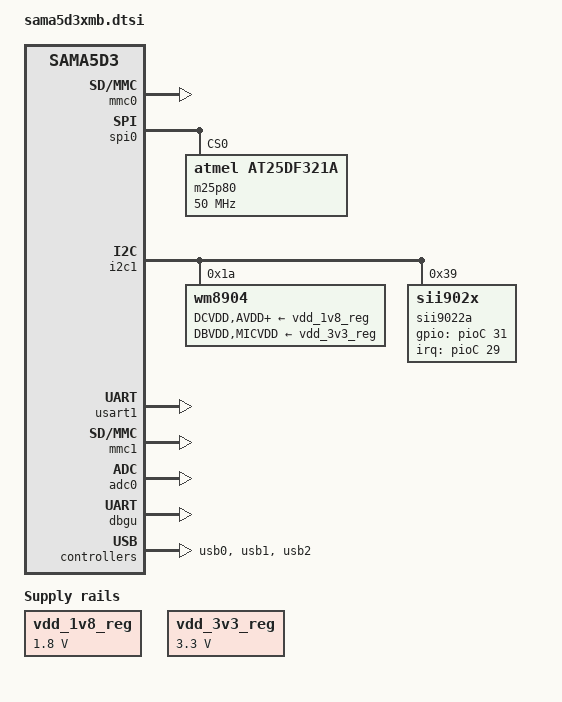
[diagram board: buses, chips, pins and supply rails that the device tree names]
/*
 * sama5d3xmb.dts - Device Tree file for SAMA5D3x mother board
 *
 *  Copyright (C) 2013 Atmel,
 *                2013 Ludovic Desroches <ludovic.desroches@atmel.com>
 *
 * Licensed under GPLv2 or later.
 */
#include "sama5d3xcm.dtsi"

/ {
	compatible = "atmel,sama5d3xmb", "atmel,sama5d3xcm", "atmel,sama5d3", "atmel,sama5";

	ahb {
		apb {
			mmc0: mmc@f0000000 {
				pinctrl-names = "default";
				pinctrl-0 = <&pinctrl_mmc0_clk_cmd_dat0 &pinctrl_mmc0_dat1_3 &pinctrl_mmc0_cd>;
				status = "okay";
				slot@0 {
					reg = <0>;
					bus-width = <4>;
					cd-gpios = <&pioD 17 GPIO_ACTIVE_HIGH>;
				};
			};

			spi0: spi@f0004000 {
				m25p80@0 {
					compatible = "atmel,at25df321a";
					spi-max-frequency = <50000000>;
					reg = <0>;
				};
			};

			ssc0: ssc@f0008000 {
				atmel,clk-from-rk-pin;
			};

			i2c1: i2c@f0018000 {
				wm8904: wm8904@1a {
					compatible = "wm8904";
					reg = <0x1a>;

					DCVDD-supply = <&vdd_1v8_reg>;
					DBVDD-supply = <&vdd_3v3_reg>;
					AVDD-supply = <&vdd_1v8_reg>;
					CPVDD-supply = <&vdd_1v8_reg>;
					MICVDD-supply = <&vdd_3v3_reg>;
				};

				sii9022a:sii9022a@39 {
					compatible = "sii902x";
					reg = <0x39>;
					interrupt-parent = <&pioC>;
					interrupts = <29 0x0>;
					pinctrl-names = "default";
					pinctrl-0 = <&pinctrl_sii9022a_irq>, <&pinctrl_sii9022a_reset>;
					gpios = <&pioC 31 0>;
				};
			};

			usart1: serial@f0020000 {
				pinctrl-names = "default";
				pinctrl-0 = <&pinctrl_usart1 &pinctrl_usart1_rts_cts>;
				status = "okay";
			};

			isi: isi@f0034000 {
				pinctrl-names = "default";
				pinctrl-0 = <&pinctrl_isi_data_0_7 &pinctrl_isi_pck_as_mck &pinctrl_isi_power &pinctrl_isi_reset>;
			};

			mmc1: mmc@f8000000 {
				pinctrl-names = "default";
				pinctrl-0 = <&pinctrl_mmc1_clk_cmd_dat0 &pinctrl_mmc1_dat1_3 &pinctrl_mmc1_cd>;
				status = "okay";
				slot@0 {
					reg = <0>;
					bus-width = <4>;
					cd-gpios = <&pioD 18 GPIO_ACTIVE_HIGH>;
				};
			};

			adc0: adc@f8018000 {
				pinctrl-names = "default";
				pinctrl-0 = <
					&pinctrl_adc0_adtrg
					&pinctrl_adc0_ad0
					&pinctrl_adc0_ad1
					&pinctrl_adc0_ad2
					&pinctrl_adc0_ad3
					&pinctrl_adc0_ad4
					>;
				status = "okay";
			};

			macb1: ethernet@f802c000 {
				phy-mode = "rmii";
			};

			pinctrl@fffff200 {
				board {
					pinctrl_mmc0_cd: mmc0_cd {
						atmel,pins =
							<AT91_PIOD 17 AT91_PERIPH_GPIO AT91_PINCTRL_PULL_UP_DEGLITCH>; /* PD17 GPIO with pullup deglitch */
					};

					pinctrl_mmc1_cd: mmc1_cd {
						atmel,pins =
							<AT91_PIOD 18 AT91_PERIPH_GPIO AT91_PINCTRL_PULL_UP_DEGLITCH>; /* PD18 GPIO with pullup deglitch */
					};

					pinctrl_pck0_as_audio_mck: pck0_as_audio_mck {
						atmel,pins =
							<AT91_PIOD 30 AT91_PERIPH_B AT91_PINCTRL_NONE>;	/* PD30 periph B */
					};

					pinctrl_isi_pck_as_mck: isi_pck_as_mck-0 {
						atmel,pins =
							<AT91_PIOD 31 AT91_PERIPH_B AT91_PINCTRL_NONE>;	/* PD31 periph B ISI_MCK */
					};

					pinctrl_isi_reset: isi_reset-0 {
						atmel,pins =
							<AT91_PIOE 24 AT91_PERIPH_GPIO AT91_PINCTRL_NONE>;   /* PE24 gpio */
					};

					pinctrl_isi_power: isi_power-0 {
						atmel,pins =
							<AT91_PIOE 29 AT91_PERIPH_GPIO AT91_PINCTRL_NONE>; /* PE29 gpio */
					};

					pinctrl_usba_vbus: usba_vbus {
						atmel,pins =
							<AT91_PIOD 29 AT91_PERIPH_GPIO AT91_PINCTRL_DEGLITCH>; /* PD29 GPIO with deglitch */
					};

					pinctrl_sii9022a_irq: sii9022a_irq {
						atmel,pins =
							<AT91_PIOC 29 AT91_PERIPH_GPIO AT91_PINCTRL_PULL_UP_DEGLITCH>;
					};

					pinctrl_sii9022a_reset: sii9022a_reset {
						atmel,pins =
							<AT91_PIOC 31 AT91_PERIPH_GPIO AT91_PINCTRL_PULL_UP>;
					};
				};
			};

			dbgu: serial@ffffee00 {
				status = "okay";
			};

			watchdog@fffffe40 {
				status = "okay";
			};
		};

		usb0: gadget@00500000 {
			atmel,vbus-gpio = <&pioD 29 GPIO_ACTIVE_HIGH>;
			pinctrl-names = "default";
			pinctrl-0 = <&pinctrl_usba_vbus>;
			status = "okay";
		};

		usb1: ohci@00600000 {
			num-ports = <3>;
			atmel,vbus-gpio = <&pioD 25 GPIO_ACTIVE_HIGH
					   &pioD 26 GPIO_ACTIVE_LOW
					   &pioD 27 GPIO_ACTIVE_LOW
					  >;
			status = "okay";
		};

		usb2: ehci@00700000 {
			status = "okay";
		};
	};

	vdd_1v8_reg: wm8904_1v8_reg {
		compatible = "regulator-fixed";
		regulator-name = "vdd_1v8_reg";
		regulator-min-microvolt = <1800000>;
		regulator-max-microvolt = <1800000>;
	};

	vdd_3v3_reg: wm8904_3v3_reg {
		compatible = "regulator-fixed";
		regulator-name = "vdd_3v3_reg";
		regulator-min-microvolt = <3300000>;
		regulator-max-microvolt = <3300000>;
	};

	sound {
		compatible = "atmel,asoc-wm8904";
		pinctrl-names = "default";
		pinctrl-0 = <&pinctrl_pck0_as_audio_mck>;

		atmel,model = "wm8904 @ SAMA5D3EK";
		atmel,audio-routing =
			"Headphone Jack", "HPOUTL",
			"Headphone Jack", "HPOUTR",
			"IN2L", "Line In Jack",
			"IN2R", "Line In Jack",
			"Mic", "MICBIAS",
			"IN1L", "Mic";

		atmel,ssc-controller = <&ssc0>;
		atmel,audio-codec = <&wm8904>;
		status = "disabled";
	};
};
